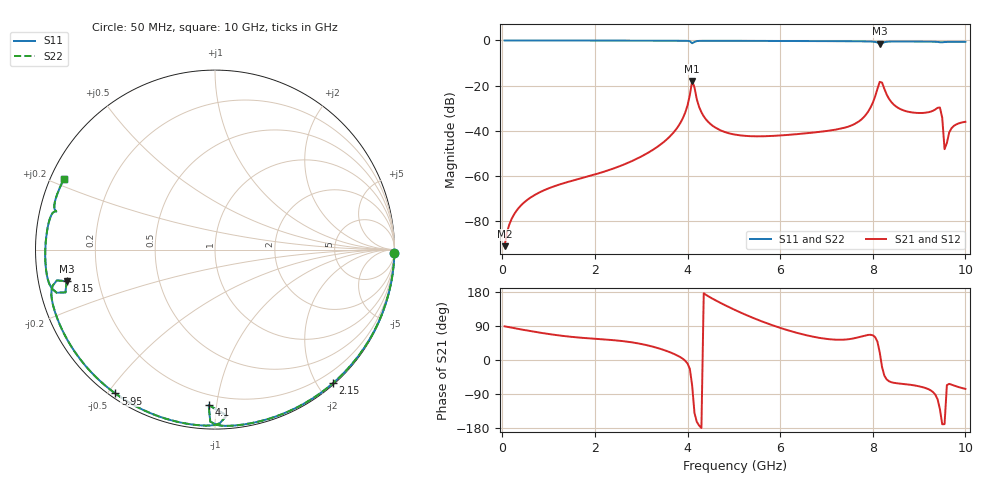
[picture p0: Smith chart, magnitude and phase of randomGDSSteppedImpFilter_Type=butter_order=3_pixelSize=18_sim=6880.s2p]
! freq	dB(S11)	phase(S11)	dB(S12)	phase(S12)
!  dB(S21)	phase(S21)	dB(S22)	phase(S22)
!S-par simulation data
#  GHz  S  DB  R 50
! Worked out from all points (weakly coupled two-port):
!   200 points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, 50 MHz to 10 GHz, reference 50 ohm
!   highest |S21| = -17.95 dB at 4.1 GHz (marker M1); lowest = -91.3 dB at 50 MHz (marker M2)
!   lowest |S11| = -1.5 dB at 8.15 GHz (marker M3), VSWR 11.94, Z = 4.23 - j5.24 ohm
!   |S11| at or under -10 dB: nowhere
!   |S22| runs from -1.5 to 0.0 dB; largest |S21 - S12| = 0
!   S11 on the Smith chart (normalised r, x): 50 MHz: open; 2.15 GHz: 0.02, -2.21; 4.1 GHz: 0.14, -0.95; 5.95 GHz: 0.02, -0.52; 8.15 GHz: 0.08, -0.10; 10 GHz: 0.04, +0.22
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0.05  -0.00 -1.1  -91.28 88.8  -91.28 88.8  -0.00 -1.1
0.75  -0.02 -17.3  -67.99 73.4  -67.99 73.4  -0.02 -17.3
1.75  -0.05 -39.8  -60.89 58.3  -60.89 58.3  -0.05 -39.8
2.15  -0.06 -48.6  -58.53 54.7  -58.53 54.7  -0.06 -48.6
3.4  -0.10 -75.3  -46.45 29.9  -46.45 29.9  -0.10 -75.3
3.9  -0.14 -86.3  -34.45 3.1  -34.45 3.1  -0.14 -86.3
4.1  -1.24 -92.3  -17.95 -67.5  -17.95 -67.5  -1.24 -92.3
4.25  -0.20 -90.3  -29.50 -172.9  -29.50 -172.9  -0.20 -90.3
4.4  -0.15 -94.2  -35.08 171.8  -35.08 171.8  -0.15 -94.2
5.05  -0.17 -107.4  -41.86 130.6  -41.86 130.6  -0.17 -107.4
5.95  -0.22 -124.7  -42.23 86.8  -42.23 86.8  -0.22 -124.7
6.7  -0.27 -138.9  -40.91 61.8  -40.91 61.8  -0.27 -138.9
7.7  -0.38 -158.6  -35.93 60.3  -35.93 60.3  -0.38 -158.6
7.95  -0.48 -164.4  -29.83 66.5  -29.83 66.5  -0.48 -164.4
8.15  -1.46 -168.0  -18.37 20.3  -18.37 20.3  -1.46 -168.0
8.35  -0.52 -168.2  -25.88 -56.1  -25.88 -56.1  -0.52 -168.2
8.8  -0.48 -178.9  -31.79 -65.2  -31.79 -65.2  -0.48 -178.9
9.45  -0.79 166.3  -29.75 -129.7  -29.75 -129.7  -0.78 166.3
9.5  -0.83 166.5  -34.34 -169.6  -34.34 -169.6  -0.82 166.5
9.55  -0.70 165.8  -48.24 -169.2  -48.24 -169.2  -0.69 165.7
9.7  -0.61 162.0  -38.96 -65.1  -38.96 -65.1  -0.61 161.9
10  -0.64 154.8  -36.09 -76.2  -36.09 -76.2  -0.64 154.8
